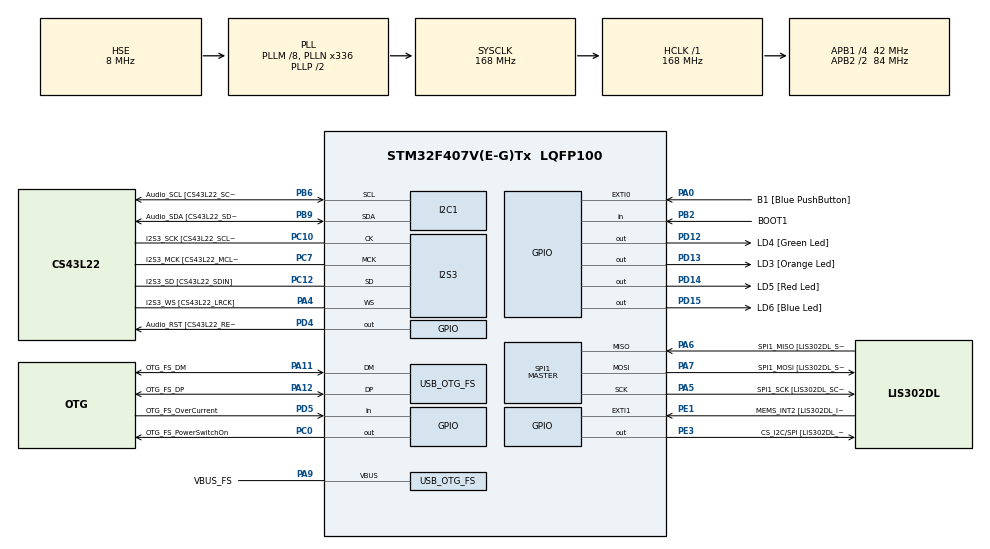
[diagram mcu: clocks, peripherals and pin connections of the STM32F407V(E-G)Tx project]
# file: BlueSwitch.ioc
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I2S3.AudioFreq-Half_Duplex_Master=I2S_AUDIOFREQ_96K
I2S3.ErrorAudioFreq=-2.34 %
I2S3.ErrorAudioFreq-Half_Duplex_Master=0.8 %
I2S3.FullDuplexMode=I2S_FULLDUPLEXMODE_DISABLE
I2S3.Instance=SPI$Index
I2S3.RealAudioFreq=93.75 KHz
I2S3.RealAudioFreq-Half_Duplex_Master=96.774 KHz
I2S3.VirtualMode=I2S_MODE_MASTER
Mcu.Family=STM32F4
Mcu.Name=STM32F407V(E-G)Tx
Mcu.Package=LQFP100
NVIC.OTG_FS_IRQn=true\:0\:0\:false\:false\:true\:true
NVIC.PriorityGroup=NVIC_PRIORITYGROUP_0
PA0-WKUP.GPIO_Label=B1 [Blue PushButton]
PA0-WKUP.GPIO_ModeDefaultEXTI=GPIO_MODE_EVT_RISING
PA0-WKUP.GPIO_PuPd=GPIO_NOPULL
PA0-WKUP.Signal=GPXTI0
PA10.GPIO_Label=OTG_FS_ID
PA10.GPIO_Mode=GPIO_MODE_AF_PP
PA10.GPIO_PuPd=GPIO_NOPULL
PA10.GPIO_Speed=GPIO_SPEED_FREQ_LOW
PA10.Signal=USB_OTG_FS_ID
PA11.GPIO_Label=OTG_FS_DM
PA11.GPIO_Mode=GPIO_MODE_AF_PP
PA11.GPIO_PuPd=GPIO_NOPULL
PA11.GPIO_Speed=GPIO_SPEED_FREQ_LOW
PA11.Mode=Host_Only
PA11.Signal=USB_OTG_FS_DM
PA12.GPIO_Label=OTG_FS_DP
PA12.GPIO_Mode=GPIO_MODE_AF_PP
PA12.GPIO_PuPd=GPIO_NOPULL
PA12.GPIO_Speed=GPIO_SPEED_FREQ_LOW
PA12.Mode=Host_Only
PA12.Signal=USB_OTG_FS_DP
PA13.GPIO_Label=SWDIO
PA13.Mode=Serial_Wire
PA13.Signal=SYS_JTMS-SWDIO
PA14.GPIO_Label=SWCLK
PA14.Mode=Serial_Wire
PA14.Signal=SYS_JTCK-SWCLK
PA4.GPIO_Label=I2S3_WS [CS43L22_LRCK]
PA4.GPIO_Mode=GPIO_MODE_AF_PP
PA4.GPIO_PuPd=GPIO_NOPULL
PA4.GPIO_Speed=GPIO_SPEED_FREQ_LOW
PA4.Mode=Half_Duplex_Master
PA4.Signal=I2S3_WS
PA5.GPIO_Label=SPI1_SCK [LIS302DL_SCL/SPC]
PA5.GPIO_Mode=GPIO_MODE_AF_PP
PA5.GPIO_PuPd=GPIO_NOPULL
PA5.GPIO_Speed=GPIO_SPEED_FREQ_LOW
PA5.Mode=Full_Duplex_Master
PA5.Signal=SPI1_SCK
PA6.GPIO_Label=SPI1_MISO [LIS302DL_SDO]
PA6.GPIO_Mode=GPIO_MODE_AF_PP
PA6.GPIO_PuPd=GPIO_NOPULL
PA6.GPIO_Speed=GPIO_SPEED_FREQ_LOW
PA6.Mode=Full_Duplex_Master
PA6.Signal=SPI1_MISO
PA7.GPIO_Label=SPI1_MOSI [LIS302DL_SDA/SDI/SDO]
PA7.GPIO_Mode=GPIO_MODE_AF_PP
PA7.GPIO_PuPd=GPIO_NOPULL
PA7.GPIO_Speed=GPIO_SPEED_FREQ_LOW
PA7.Mode=Full_Duplex_Master
PA7.Signal=SPI1_MOSI
PA9.GPIO_Label=VBUS_FS
PA9.GPIO_Mode=GPIO_MODE_INPUT
PA9.GPIO_PuPd=GPIO_NOPULL
PA9.Mode=Activate_VBUS
PA9.Signal=USB_OTG_FS_VBUS
PB10.GPIO_Label=CLK_IN [MP45DT02_CLK]
PB10.GPIO_Mode=GPIO_MODE_AF_PP
PB10.GPIO_PuPd=GPIO_NOPULL
PB10.GPIO_Speed=GPIO_SPEED_FREQ_LOW
PB10.Signal=I2S2_CK
PB2.GPIO_Label=BOOT1
PB2.GPIO_Mode=GPIO_MODE_INPUT
PB2.GPIO_PuPd=GPIO_NOPULL
PB2.Signal=GPIO_Input
PB3.GPIO_Label=SWO
PB3.Signal=SYS_JTDO-SWO
PB6.GPIO_Label=Audio_SCL [CS43L22_SCL]
PB6.GPIO_Mode=GPIO_MODE_AF_OD
PB6.GPIO_PuPd=GPIO_NOPULL
PB6.GPIO_Speed=GPIO_SPEED_FREQ_LOW
PB6.Mode=I2C
PB6.Signal=I2C1_SCL
PB9.GPIO_Label=Audio_SDA [CS43L22_SDA]
PB9.GPIO_Mode=GPIO_MODE_AF_OD
PB9.GPIO_PuPd=GPIO_NOPULL
PB9.GPIO_Speed=GPIO_SPEED_FREQ_LOW
PB9.Mode=I2C
PB9.Signal=I2C1_SDA
PC0.GPIO_Label=OTG_FS_PowerSwitchOn
PC0.GPIO_PuPd=GPIO_NOPULL
PC0.GPIO_Speed=GPIO_SPEED_FREQ_LOW
PC0.PinState=GPIO_PIN_SET
PC0.Signal=GPIO_Output
PC10.GPIO_Label=I2S3_SCK [CS43L22_SCLK]
PC10.GPIO_Mode=GPIO_MODE_AF_PP
PC10.GPIO_PuPd=GPIO_NOPULL
PC10.GPIO_Speed=GPIO_SPEED_FREQ_LOW
PC10.Mode=Half_Duplex_Master
PC10.Signal=I2S3_CK
PC12.GPIO_Label=I2S3_SD [CS43L22_SDIN]
PC12.GPIO_Mode=GPIO_MODE_AF_PP
PC12.GPIO_PuPd=GPIO_NOPULL
PC12.GPIO_Speed=GPIO_SPEED_FREQ_LOW
PC12.Mode=Half_Duplex_Master
PC12.Signal=I2S3_SD
PC14-OSC32_IN.GPIO_Label=PC14-OSC32_IN
PC14-OSC32_IN.Mode=LSE-External-Oscillator
PC14-OSC32_IN.Signal=RCC_OSC32_IN
PC15-OSC32_OUT.GPIO_Label=PC15-OSC32_OUT
PC15-OSC32_OUT.Mode=LSE-External-Oscillator
PC15-OSC32_OUT.Signal=RCC_OSC32_OUT
PC3.GPIO_Label=PDM_OUT [MP45DT02_DOUT]
PC3.GPIO_Mode=GPIO_MODE_AF_PP
PC3.GPIO_PuPd=GPIO_NOPULL
PC3.GPIO_Speed=GPIO_SPEED_FREQ_LOW
PC3.Signal=I2S2_SD
PC7.GPIO_Label=I2S3_MCK [CS43L22_MCLK]
PC7.GPIO_Mode=GPIO_MODE_AF_PP
PC7.GPIO_PuPd=GPIO_NOPULL
PC7.GPIO_Speed=GPIO_SPEED_FREQ_LOW
PC7.Mode=Master_Clock_Activated
PC7.Signal=I2S3_MCK
PD12.GPIO_Label=LD4 [Green Led]
PD12.GPIO_PuPd=GPIO_NOPULL
PD12.GPIO_Speed=GPIO_SPEED_FREQ_LOW
PD12.Signal=GPIO_Output
PD13.GPIO_Label=LD3 [Orange Led]
PD13.GPIO_PuPd=GPIO_NOPULL
PD13.GPIO_Speed=GPIO_SPEED_FREQ_LOW
PD13.Signal=GPIO_Output
PD14.GPIO_Label=LD5 [Red Led]
PD14.GPIO_PuPd=GPIO_NOPULL
PD14.GPIO_Speed=GPIO_SPEED_FREQ_LOW
PD14.Signal=GPIO_Output
PD15.GPIO_Label=LD6 [Blue Led]
PD15.GPIO_PuPd=GPIO_NOPULL
PD15.GPIO_Speed=GPIO_SPEED_FREQ_LOW
PD15.Signal=GPIO_Output
PD4.GPIO_Label=Audio_RST [CS43L22_RESET]
PD4.GPIO_PuPd=GPIO_NOPULL
PD4.GPIO_Speed=GPIO_SPEED_FREQ_LOW
PD4.Signal=GPIO_Output
PD5.GPIO_Label=OTG_FS_OverCurrent
PD5.GPIO_Mode=GPIO_MODE_INPUT
PD5.GPIO_PuPd=GPIO_NOPULL
PD5.Signal=GPIO_Input
PE1.GPIO_Label=MEMS_INT2 [LIS302DL_INT2]
PE1.GPIO_ModeDefaultEXTI=GPIO_MODE_EVT_RISING
PE1.GPIO_PuPd=GPIO_NOPULL
PE1.Signal=GPXTI1
PE3.GPIO_Label=CS_I2C/SPI [LIS302DL_CS_I2C/SPI]
PE3.GPIO_PuPd=GPIO_NOPULL
PE3.GPIO_Speed=GPIO_SPEED_FREQ_LOW
PE3.Signal=GPIO_Output
PH0-OSC_IN.GPIO_Label=PH0-OSC_IN
PH0-OSC_IN.Mode=HSE-External-Oscillator
PH0-OSC_IN.Signal=RCC_OSC_IN
PH1-OSC_OUT.GPIO_Label=PH1-OSC_OUT
PH1-OSC_OUT.Mode=HSE-External-Oscillator
PH1-OSC_OUT.Signal=RCC_OSC_OUT
ProjectManager.HeapSize=0x200
ProjectManager.StackSize=0x400
ProjectManager.TargetToolchain=TrueSTUDIO
RCC.48MHZClocksFreq_Value=48000000
RCC.AHBFreq_Value=168000000
RCC.APB1CLKDivider=RCC_HCLK_DIV4
RCC.APB1Freq_Value=42000000
RCC.APB1TimFreq_Value=84000000
RCC.APB2CLKDivider=RCC_HCLK_DIV2
RCC.APB2Freq_Value=84000000
RCC.APB2TimFreq_Value=168000000
RCC.CortexFreq_Value=168000000
RCC.HCLKFreq_Value=168000000
RCC.HSE_VALUE=8000000
RCC.HSI_VALUE=16000000
RCC.PLLM=8
RCC.PLLN=336
RCC.PLLQ=7
RCC.SYSCLKFreq_VALUE=168000000
RCC.SYSCLKSource=RCC_SYSCLKSOURCE_PLLCLK
RCC.VCOOutputFreq_Value=336000000
SPI1.BaudRatePrescaler-Full_Duplex_Master=SPI_BAUDRATEPRESCALER_2
SPI1.CalculateBaudRate-Full_Duplex_Master=42.0 MBits/s
SPI1.Direction=SPI_DIRECTION_2LINES
SPI1.Mode=SPI_MODE_MASTER
SPI1.Mode-Full_Duplex_Master=SPI_MODE_MASTER
SPI1.VirtualType=VM_MASTER
USB_HOST.BSP.number=1
USB_HOST.USBH_HandleTypeDef-CDC_FS=hUsbHostFS
USB_HOST.VirtualModeFS=Cdc
USB_HOST0.BSP.STBoard=false
USB_HOST0.BSP.api=UnknownBspDriver
USB_HOST0.BSP.i2caddr=0
USB_HOST0.BSP.i2creg=0
USB_HOST0.BSP.instance=PC0
USB_HOST0.BSP.ip=GPIO
USB_HOST0.BSP.mode=Output
USB_HOST0.BSP.name=Drive_VBUS_FS
USB_HOST0.BSP.solution=PC0
USB_OTG_FS.VirtualMode=Host_Only
USB_OTG_FS.phy_itface=HCD_PHY_EMBEDDED
VP_USB_HOST_VS_USB_HOST_CDC_FS.Mode=CDC_FS
board=STM32F4DISCOVERY

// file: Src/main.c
/**
  ******************************************************************************
  * @file           : main.c
  * @brief          : Main program body
  ******************************************************************************
  * This notice applies to any and all portions of this file
  * that are not between comment pairs USER CODE BEGIN and
  * USER CODE END. Other portions of this file, whether
  * inserted by the user or by software development tools
  * are owned by their respective copyright owners.
  *
  * Copyright (c) 2018 STMicroelectronics International N.V.
  * All rights reserved.
  *
  * Redistribution and use in source and binary forms, with or without
  * modification, are permitted, provided that the following conditions are met:
  *
  * 1. Redistribution of source code must retain the above copyright notice,
  *    this list of conditions and the following disclaimer.
  * 2. Redistributions in binary form must reproduce the above copyright notice,
  *    this list of conditions and the following disclaimer in the documentation
  *    and/or other materials provided with the distribution.
  * 3. Neither the name of STMicroelectronics nor the names of other
  *    contributors to this software may be used to endorse or promote products
  *    derived from this software without specific written permission.
  * 4. This software, including modifications and/or derivative works of this
  *    software, must execute solely and exclusively on microcontroller or
  *    microprocessor devices manufactured by or for STMicroelectronics.
  * 5. Redistribution and use of this software other than as permitted under
  *    this license is void and will automatically terminate your rights under
  *    this license.
  *
  * THIS SOFTWARE IS PROVIDED BY STMICROELECTRONICS AND CONTRIBUTORS "AS IS"
  * AND ANY EXPRESS, IMPLIED OR STATUTORY WARRANTIES, INCLUDING, BUT NOT
  * LIMITED TO, THE IMPLIED WARRANTIES OF MERCHANTABILITY, FITNESS FOR A
  * PARTICULAR PURPOSE AND NON-INFRINGEMENT OF THIRD PARTY INTELLECTUAL PROPERTY
  * RIGHTS ARE DISCLAIMED TO THE FULLEST EXTENT PERMITTED BY LAW. IN NO EVENT
  * SHALL STMICROELECTRONICS OR CONTRIBUTORS BE LIABLE FOR ANY DIRECT, INDIRECT,
  * INCIDENTAL, SPECIAL, EXEMPLARY, OR CONSEQUENTIAL DAMAGES (INCLUDING, BUT NOT
  * LIMITED TO, PROCUREMENT OF SUBSTITUTE GOODS OR SERVICES; LOSS OF USE, DATA,
  * OR PROFITS; OR BUSINESS INTERRUPTION) HOWEVER CAUSED AND ON ANY THEORY OF
  * LIABILITY, WHETHER IN CONTRACT, STRICT LIABILITY, OR TORT (INCLUDING
  * NEGLIGENCE OR OTHERWISE) ARISING IN ANY WAY OUT OF THE USE OF THIS SOFTWARE,
  * EVEN IF ADVISED OF THE POSSIBILITY OF SUCH DAMAGE.
  *
  ******************************************************************************
  */
#include "main.h"
#include "stm32f4xx_hal.h"
#include "usb_host.h"

I2C_HandleTypeDef hi2c1;

I2S_HandleTypeDef hi2s3;

SPI_HandleTypeDef hspi1;

/* USER CODE BEGIN PV */
/* Private variables ---------------------------------------------------------*/
enum led_colors {
  GREEN, ORANGE, RED, BLUE
};

/* USER CODE END PV */

void SystemClock_Config(void);
static void MX_GPIO_Init(void);
static void MX_I2C1_Init(void);
static void MX_I2S3_Init(void);
static void MX_SPI1_Init(void);
void MX_USB_HOST_Process(void);

/* USER CODE BEGIN PFP */
/* Private function prototypes -----------------------------------------------*/
GPIO_PinState state;
/* USER CODE END PFP */

/* USER CODE BEGIN 0 */
uint16_t next_color(void) {
  static enum led_colors current = GREEN;
  uint16_t gpio_pin = GPIO_PIN_12;
  switch(current) {
    case GREEN:
      current = ORANGE;
      gpio_pin = GPIO_PIN_13;
      break;
    case ORANGE:
      current = RED;
      gpio_pin = GPIO_PIN_14;
      break;
    case RED:
      current = BLUE;
      gpio_pin = GPIO_PIN_15;
      break;
    case BLUE:
      current = GREEN;
      gpio_pin = GPIO_PIN_12;
      break;
  }
  return gpio_pin;
}

/* USER CODE END 0 */

int main(void)
{
  /* USER CODE BEGIN 1 */
  uint16_t current = GPIO_PIN_12;
  /* USER CODE END 1 */

  /* MCU Configuration----------------------------------------------------------*/

  /* Reset of all peripherals, Initializes the Flash interface and the Systick. */
  HAL_Init();

  /* Configure the system clock */
  SystemClock_Config();

  /* Initialize all configured peripherals */
  MX_GPIO_Init();
  MX_I2C1_Init();
  MX_I2S3_Init();
  MX_SPI1_Init();
  MX_USB_HOST_Init();

  /* Infinite loop */
  /* USER CODE BEGIN WHILE */
  while (1)
  {
    state = HAL_GPIO_ReadPin(GPIOA, GPIO_PIN_0);
    switch(state) {
      case SET:
	current = next_color();
	HAL_GPIO_WritePin(GPIOD, current, SET);
	HAL_Delay(100);
	break;
      case RESET:
	HAL_GPIO_WritePin(GPIOD, current, RESET);
	break;
    }

  /* USER CODE END WHILE */
    MX_USB_HOST_Process();

  }

}

void SystemClock_Config(void)
{

  RCC_OscInitTypeDef RCC_OscInitStruct;
  RCC_ClkInitTypeDef RCC_ClkInitStruct;
  RCC_PeriphCLKInitTypeDef PeriphClkInitStruct;

    /**Configure the main internal regulator output voltage
    */
  __HAL_RCC_PWR_CLK_ENABLE();

  __HAL_PWR_VOLTAGESCALING_CONFIG(PWR_REGULATOR_VOLTAGE_SCALE1);

    /**Initializes the CPU, AHB and APB busses clocks
    */
  RCC_OscInitStruct.OscillatorType = RCC_OSCILLATORTYPE_HSE;
  RCC_OscInitStruct.HSEState = RCC_HSE_ON;
  RCC_OscInitStruct.PLL.PLLState = RCC_PLL_ON;
  RCC_OscInitStruct.PLL.PLLSource = RCC_PLLSOURCE_HSE;
  RCC_OscInitStruct.PLL.PLLM = 8;
  RCC_OscInitStruct.PLL.PLLN = 336;
  RCC_OscInitStruct.PLL.PLLP = RCC_PLLP_DIV2;
  RCC_OscInitStruct.PLL.PLLQ = 7;
  if (HAL_RCC_OscConfig(&RCC_OscInitStruct) != HAL_OK)
  {
    _Error_Handler(__FILE__, __LINE__);
  }

    /**Initializes the CPU, AHB and APB busses clocks
    */
  RCC_ClkInitStruct.ClockType = RCC_CLOCKTYPE_HCLK|RCC_CLOCKTYPE_SYSCLK
                              |RCC_CLOCKTYPE_PCLK1|RCC_CLOCKTYPE_PCLK2;
  RCC_ClkInitStruct.SYSCLKSource = RCC_SYSCLKSOURCE_PLLCLK;
  RCC_ClkInitStruct.AHBCLKDivider = RCC_SYSCLK_DIV1;
  RCC_ClkInitStruct.APB1CLKDivider = RCC_HCLK_DIV4;
  RCC_ClkInitStruct.APB2CLKDivider = RCC_HCLK_DIV2;

  if (HAL_RCC_ClockConfig(&RCC_ClkInitStruct, FLASH_LATENCY_5) != HAL_OK)
  {
    _Error_Handler(__FILE__, __LINE__);
  }

  PeriphClkInitStruct.PeriphClockSelection = RCC_PERIPHCLK_I2S;
  PeriphClkInitStruct.PLLI2S.PLLI2SN = 192;
  PeriphClkInitStruct.PLLI2S.PLLI2SR = 2;
  if (HAL_RCCEx_PeriphCLKConfig(&PeriphClkInitStruct) != HAL_OK)
  {
    _Error_Handler(__FILE__, __LINE__);
  }

    /**Configure the Systick interrupt time
    */
  HAL_SYSTICK_Config(HAL_RCC_GetHCLKFreq()/1000);

    /**Configure the Systick
    */
  HAL_SYSTICK_CLKSourceConfig(SYSTICK_CLKSOURCE_HCLK);

  /* SysTick_IRQn interrupt configuration */
  HAL_NVIC_SetPriority(SysTick_IRQn, 0, 0);
}

/* I2C1 init function */
static void MX_I2C1_Init(void)
{

  hi2c1.Instance = I2C1;
  hi2c1.Init.ClockSpeed = 100000;
  hi2c1.Init.DutyCycle = I2C_DUTYCYCLE_2;
  hi2c1.Init.OwnAddress1 = 0;
  hi2c1.Init.AddressingMode = I2C_ADDRESSINGMODE_7BIT;
  hi2c1.Init.DualAddressMode = I2C_DUALADDRESS_DISABLE;
  hi2c1.Init.OwnAddress2 = 0;
  hi2c1.Init.GeneralCallMode = I2C_GENERALCALL_DISABLE;
  hi2c1.Init.NoStretchMode = I2C_NOSTRETCH_DISABLE;
  if (HAL_I2C_Init(&hi2c1) != HAL_OK)
  {
    _Error_Handler(__FILE__, __LINE__);
  }

}

/* I2S3 init function */
static void MX_I2S3_Init(void)
{

  hi2s3.Instance = SPI3;
  hi2s3.Init.Mode = I2S_MODE_MASTER_TX;
  hi2s3.Init.Standard = I2S_STANDARD_PHILIPS;
  hi2s3.Init.DataFormat = I2S_DATAFORMAT_16B;
  hi2s3.Init.MCLKOutput = I2S_MCLKOUTPUT_ENABLE;
  hi2s3.Init.AudioFreq = I2S_AUDIOFREQ_96K;
  hi2s3.Init.CPOL = I2S_CPOL_LOW;
  hi2s3.Init.ClockSource = I2S_CLOCK_PLL;
  hi2s3.Init.FullDuplexMode = I2S_FULLDUPLEXMODE_DISABLE;
  if (HAL_I2S_Init(&hi2s3) != HAL_OK)
  {
    _Error_Handler(__FILE__, __LINE__);
  }

}

/* SPI1 init function */
static void MX_SPI1_Init(void)
{

  /* SPI1 parameter configuration*/
  hspi1.Instance = SPI1;
  hspi1.Init.Mode = SPI_MODE_MASTER;
  hspi1.Init.Direction = SPI_DIRECTION_2LINES;
  hspi1.Init.DataSize = SPI_DATASIZE_8BIT;
  hspi1.Init.CLKPolarity = SPI_POLARITY_LOW;
  hspi1.Init.CLKPhase = SPI_PHASE_1EDGE;
  hspi1.Init.NSS = SPI_NSS_SOFT;
  hspi1.Init.BaudRatePrescaler = SPI_BAUDRATEPRESCALER_2;
  hspi1.Init.FirstBit = SPI_FIRSTBIT_MSB;
  hspi1.Init.TIMode = SPI_TIMODE_DISABLE;
  hspi1.Init.CRCCalculation = SPI_CRCCALCULATION_DISABLE;
  hspi1.Init.CRCPolynomial = 10;
  if (HAL_SPI_Init(&hspi1) != HAL_OK)
  {
    _Error_Handler(__FILE__, __LINE__);
  }

}

/** Configure pins as
        * Analog
        * Input
        * Output
        * EVENT_OUT
        * EXTI
     PC3   ------> I2S2_SD
     PB10   ------> I2S2_CK
*/
static void MX_GPIO_Init(void)
{

  GPIO_InitTypeDef GPIO_InitStruct;

  /* GPIO Ports Clock Enable */
  __HAL_RCC_GPIOE_CLK_ENABLE();
  __HAL_RCC_GPIOC_CLK_ENABLE();
  __HAL_RCC_GPIOH_CLK_ENABLE();
  __HAL_RCC_GPIOA_CLK_ENABLE();
  __HAL_RCC_GPIOB_CLK_ENABLE();
  __HAL_RCC_GPIOD_CLK_ENABLE();

  /*Configure GPIO pin Output Level */
  HAL_GPIO_WritePin(CS_I2C_SPI_GPIO_Port, CS_I2C_SPI_Pin, GPIO_PIN_RESET);

  /*Configure GPIO pin Output Level */
  HAL_GPIO_WritePin(OTG_FS_PowerSwitchOn_GPIO_Port, OTG_FS_PowerSwitchOn_Pin, GPIO_PIN_SET);

  /*Configure GPIO pin Output Level */
  HAL_GPIO_WritePin(GPIOD, LD4_Pin|LD3_Pin|LD5_Pin|LD6_Pin
                          |Audio_RST_Pin, GPIO_PIN_RESET);

  /*Configure GPIO pin : CS_I2C_SPI_Pin */
  GPIO_InitStruct.Pin = CS_I2C_SPI_Pin;
  GPIO_InitStruct.Mode = GPIO_MODE_OUTPUT_PP;
  GPIO_InitStruct.Pull = GPIO_NOPULL;
  GPIO_InitStruct.Speed = GPIO_SPEED_FREQ_LOW;
  HAL_GPIO_Init(CS_I2C_SPI_GPIO_Port, &GPIO_InitStruct);

  /*Configure GPIO pin : OTG_FS_PowerSwitchOn_Pin */
  GPIO_InitStruct.Pin = OTG_FS_PowerSwitchOn_Pin;
  GPIO_InitStruct.Mode = GPIO_MODE_OUTPUT_PP;
  GPIO_InitStruct.Pull = GPIO_NOPULL;
  GPIO_InitStruct.Speed = GPIO_SPEED_FREQ_LOW;
  HAL_GPIO_Init(OTG_FS_PowerSwitchOn_GPIO_Port, &GPIO_InitStruct);

  /*Configure GPIO pin : PDM_OUT_Pin */
  GPIO_InitStruct.Pin = PDM_OUT_Pin;
  GPIO_InitStruct.Mode = GPIO_MODE_AF_PP;
  GPIO_InitStruct.Pull = GPIO_NOPULL;
  GPIO_InitStruct.Speed = GPIO_SPEED_FREQ_LOW;
  GPIO_InitStruct.Alternate = GPIO_AF5_SPI2;
  HAL_GPIO_Init(PDM_OUT_GPIO_Port, &GPIO_InitStruct);

  /*Configure GPIO pin : B1_Pin */
  GPIO_InitStruct.Pin = B1_Pin;
  GPIO_InitStruct.Mode = GPIO_MODE_EVT_RISING;
  GPIO_InitStruct.Pull = GPIO_NOPULL;
  HAL_GPIO_Init(B1_GPIO_Port, &GPIO_InitStruct);

  /*Configure GPIO pin : BOOT1_Pin */
  GPIO_InitStruct.Pin = BOOT1_Pin;
  GPIO_InitStruct.Mode = GPIO_MODE_INPUT;
  GPIO_InitStruct.Pull = GPIO_NOPULL;
  HAL_GPIO_Init(BOOT1_GPIO_Port, &GPIO_InitStruct);

  /*Configure GPIO pin : CLK_IN_Pin */
  GPIO_InitStruct.Pin = CLK_IN_Pin;
  GPIO_InitStruct.Mode = GPIO_MODE_AF_PP;
  GPIO_InitStruct.Pull = GPIO_NOPULL;
  GPIO_InitStruct.Speed = GPIO_SPEED_FREQ_LOW;
  GPIO_InitStruct.Alternate = GPIO_AF5_SPI2;
  HAL_GPIO_Init(CLK_IN_GPIO_Port, &GPIO_InitStruct);

  /*Configure GPIO pins : LD4_Pin LD3_Pin LD5_Pin LD6_Pin
                           Audio_RST_Pin */
  GPIO_InitStruct.Pin = LD4_Pin|LD3_Pin|LD5_Pin|LD6_Pin
                          |Audio_RST_Pin;
  GPIO_InitStruct.Mode = GPIO_MODE_OUTPUT_PP;
  GPIO_InitStruct.Pull = GPIO_NOPULL;
  GPIO_InitStruct.Speed = GPIO_SPEED_FREQ_LOW;
  HAL_GPIO_Init(GPIOD, &GPIO_InitStruct);

  /*Configure GPIO pin : OTG_FS_OverCurrent_Pin */
  GPIO_InitStruct.Pin = OTG_FS_OverCurrent_Pin;
  GPIO_InitStruct.Mode = GPIO_MODE_INPUT;
  GPIO_InitStruct.Pull = GPIO_NOPULL;
  HAL_GPIO_Init(OTG_FS_OverCurrent_GPIO_Port, &GPIO_InitStruct);

  /*Configure GPIO pin : MEMS_INT2_Pin */
  GPIO_InitStruct.Pin = MEMS_INT2_Pin;
  GPIO_InitStruct.Mode = GPIO_MODE_EVT_RISING;
  GPIO_InitStruct.Pull = GPIO_NOPULL;
  HAL_GPIO_Init(MEMS_INT2_GPIO_Port, &GPIO_InitStruct);

}

void _Error_Handler(char *file, int line)
{
  while(1)
  {
  }
}

/************************ (C) COPYRIGHT STMicroelectronics *****END OF FILE****/
